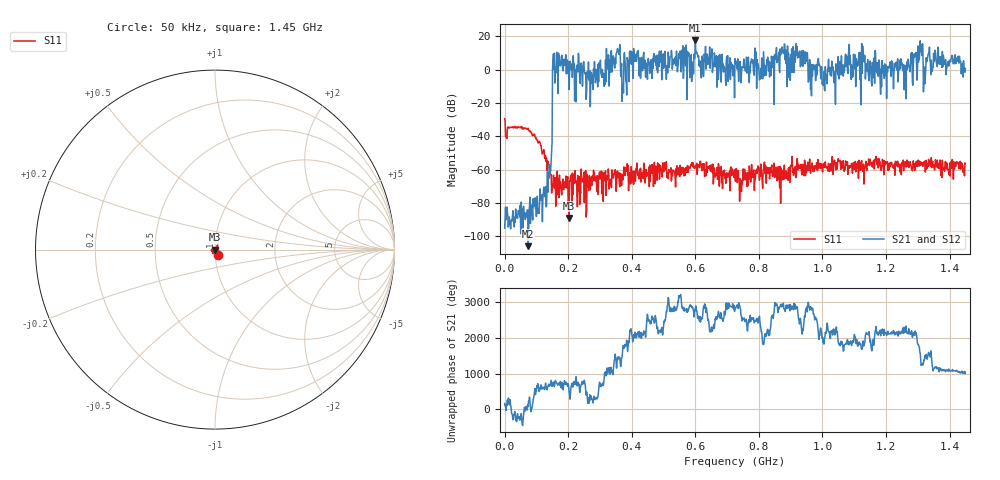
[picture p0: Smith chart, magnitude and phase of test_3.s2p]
! Created with skrf 1.11.0 (http://scikit-rf.org).
# Hz S RI R 50.0
!freq ReS11 ImS11 ReS21 ImS21 ReS12 ImS12 ReS22 ImS22
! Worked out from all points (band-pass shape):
!   1001 points, 50 kHz to 1.45 GHz, reference 50 ohm
!   highest |S21| = 17.50 dB at 600.3 MHz (marker M1); lowest = -105.9 dB at 74 MHz (marker M2)
!   |S21| within 3 dB of the highest: 362.3753 MHz to 362.6316 MHz (256.3 kHz wide, 0.0707 % of centre); 879.9573 MHz to 881.7203 MHz (1.763 MHz wide, 0.2 % of centre) (the widest 2 of 10)
!   lowest |S11| = -89.0 dB at 203 MHz (marker M3), VSWR 1.00, Z = 50 - j0.0027 ohm
!   |S11| at or under -10 dB: start of sweep to end of sweep
!   |S22| runs from - to - dB; largest |S21 - S12| = 0
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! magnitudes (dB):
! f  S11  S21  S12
! 50 kHz  -29.4  -95.0  -95.0
! 74 MHz  -35.2  -105.9  -105.9
! 137.8 MHz  -57.8  -63.1  -63.1
! 142.1 MHz  -60.2  -60.0  -60.0
! 158.1 MHz  -67.0  -8.1  -8.1
! 203 MHz  -89.0  -12.0  -12.0
! 242.2 MHz  -66.6  2.3  2.3
! 311.8 MHz  -64.3  -2.1  -2.1
! 355.3 MHz  -60.9  12.7  12.7
! 377 MHz  -62.4  10.2  10.2
! 400.2 MHz  -67.9  10.8  10.8
! 484.3 MHz  -61.1  8.6  8.6
! 600.3 MHz  -58.9  17.5  17.5
! 725 MHz  -63.1  6.6  6.6
! 841 MHz  -57.2  6.4  6.4
! 874.4 MHz  -61.1  11.5  11.5
! 967.2 MHz  -55.9  3.1  3.1
! 1.209 GHz  -60.0  1.3  1.3
! 1.262 GHz  -56.6  -0.4  -0.4
! 1.308 GHz  -55.6  17.3  17.3
! 1.324 GHz  -61.4  -4.5  -4.5
! 1.45 GHz  -56.3  0.5  0.5
